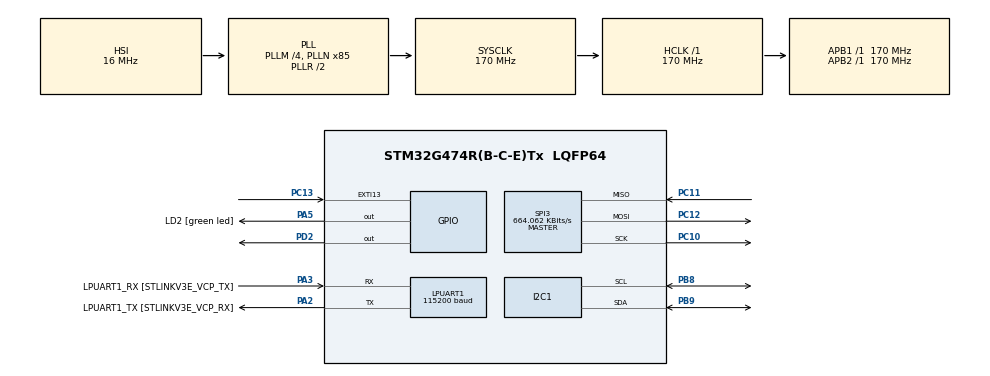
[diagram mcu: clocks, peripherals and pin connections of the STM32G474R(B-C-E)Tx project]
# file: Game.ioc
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I2C1.Timing=0x30A0A7FB
LPUART1.BaudRate=115200
LPUART1.WordLength=UART_WORDLENGTH_8B
Mcu.Family=STM32G4
Mcu.Name=STM32G474R(B-C-E)Tx
Mcu.Package=LQFP64
NVIC.EXTI15_10_IRQn=true\:0\:0\:false\:false\:true\:true\:true\:true
NVIC.I2C1_ER_IRQn=true\:0\:0\:false\:false\:true\:true\:true\:true
NVIC.I2C1_EV_IRQn=true\:0\:0\:false\:false\:true\:true\:true\:true
NVIC.PriorityGroup=NVIC_PRIORITYGROUP_4
NVIC.SPI3_IRQn=true\:0\:0\:false\:false\:true\:true\:true\:true
NVIC.TIM3_IRQn=true\:0\:0\:false\:false\:true\:true\:true\:true
PA13.GPIO_Label=T_SWDIO
PA13.Mode=Serial_Wire
PA13.Signal=SYS_JTMS-SWDIO
PA14.GPIO_Label=T_SWCLK
PA14.Mode=Serial_Wire
PA14.Signal=SYS_JTCK-SWCLK
PA2.GPIO_Label=LPUART1_TX [STLINKV3E_VCP_RX]
PA2.Mode=Asynchronous
PA2.Signal=LPUART1_TX
PA3.GPIO_Label=LPUART1_RX [STLINKV3E_VCP_TX]
PA3.Mode=Asynchronous
PA3.Signal=LPUART1_RX
PA5.GPIO_Label=LD2 [green led]
PA5.Signal=GPIO_Output
PB3.GPIO_Label=T_SWO
PB3.Signal=SYS_JTDO-SWO
PB8-BOOT0.Mode=I2C
PB8-BOOT0.Signal=I2C1_SCL
PB9.Mode=I2C
PB9.Signal=I2C1_SDA
PC10.Mode=Full_Duplex_Master
PC10.Signal=SPI3_SCK
PC11.Mode=Full_Duplex_Master
PC11.Signal=SPI3_MISO
PC12.Mode=Full_Duplex_Master
PC12.Signal=SPI3_MOSI
PC13.GPIO_ModeDefaultEXTI=GPIO_MODE_IT_RISING
PC13.Signal=GPXTI13
PC14-OSC32_IN.Mode=LSE-External-Oscillator
PC14-OSC32_IN.Signal=RCC_OSC32_IN
PC15-OSC32_OUT.Mode=LSE-External-Oscillator
PC15-OSC32_OUT.Signal=RCC_OSC32_OUT
PD2.PinState=GPIO_PIN_SET
PD2.Signal=GPIO_Output
PF0-OSC_IN.Mode=HSE-External-Oscillator
PF0-OSC_IN.Signal=RCC_OSC_IN
PF1-OSC_OUT.Mode=HSE-External-Oscillator
PF1-OSC_OUT.Signal=RCC_OSC_OUT
ProjectManager.HeapSize=0x200
ProjectManager.StackSize=0x400
ProjectManager.TargetToolchain=STM32CubeIDE
RCC.ADC12Freq_Value=170000000
RCC.ADC345Freq_Value=170000000
RCC.AHBFreq_Value=170000000
RCC.APB1Freq_Value=170000000
RCC.APB1TimFreq_Value=170000000
RCC.APB2Freq_Value=170000000
RCC.APB2TimFreq_Value=170000000
RCC.CortexFreq_Value=170000000
RCC.EXTERNAL_CLOCK_VALUE=12288000
RCC.HCLKFreq_Value=170000000
RCC.HSE_VALUE=24000000
RCC.HSI48_VALUE=48000000
RCC.HSI_VALUE=16000000
RCC.PLLM=RCC_PLLM_DIV4
RCC.PLLN=85
RCC.RTCClockSelection=RCC_RTCCLKSOURCE_LSE
RCC.SYSCLKFreq_VALUE=170000000
RCC.SYSCLKSource=RCC_SYSCLKSOURCE_PLLCLK
RCC.USBFreq_Value=170000000
RCC.VCOOutputFreq_Value=340000000
SPI3.BaudRatePrescaler=SPI_BAUDRATEPRESCALER_256
SPI3.CalculateBaudRate=664.062 KBits/s
SPI3.DataSize=SPI_DATASIZE_8BIT
SPI3.Direction=SPI_DIRECTION_2LINES
SPI3.Mode=SPI_MODE_MASTER
SPI3.VirtualType=VM_MASTER
TIM3.PeriodNoDither=499
TIM3.Prescaler=16999
VP_SYS_VS_DBSignals.Mode=DisableDeadBatterySignals
VP_TIM3_VS_ClockSourceINT.Mode=Internal
board=NUCLEO-G474RE

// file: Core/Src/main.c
/* USER CODE BEGIN Header */
/**
  ******************************************************************************
  * @file           : main.c
  * @brief          : Main program body
  ******************************************************************************
  * @attention
  *
  * Copyright (c) 2024 STMicroelectronics.
  * All rights reserved.
  *
  * This software is licensed under terms that can be found in the LICENSE file
  * in the root directory of this software component.
  * If no LICENSE file comes with this software, it is provided AS-IS.
  *
  ******************************************************************************
  */
/* USER CODE END Header */
#include "main.h"

/* USER CODE BEGIN PD */
#define EEPROM_ADDR 0b10100000
/* USER CODE END PD */

I2C_HandleTypeDef hi2c1;

UART_HandleTypeDef hlpuart1;

SPI_HandleTypeDef hspi3;

TIM_HandleTypeDef htim3;

/* USER CODE BEGIN PV */
uint8_t SPI_TX[10];
uint8_t SPI_RX[10];

uint64_t Number;
uint32_t Random;
uint32_t x;
uint16_t control_rand;
uint16_t State;
uint16_t Z;
uint16_t T;
uint16_t Reward;
uint16_t Rx_Button[10];
uint16_t light;
uint16_t LMode;
uint16_t Press;
uint16_t test;

uint8_t WriteFlag = 0;
uint8_t ReadFlag = 0;
uint8_t ReadBomb[4];
uint8_t data[4];
/* USER CODE END PV */

void SystemClock_Config(void);
static void MX_GPIO_Init(void);
static void MX_LPUART1_UART_Init(void);
static void MX_SPI3_Init(void);
static void MX_I2C1_Init(void);
static void MX_TIM3_Init(void);
/* USER CODE BEGIN PFP */
void SPITxRx_read_Write_IO();
void LIGHT_OUTPUT_Setup();
void random_std();
void Convert_HC_35_2_Number();
void SET_LIGHT_B();
void shipbit();
/* USER CODE END PFP */

int main(void)
{

  /* MCU Configuration--------------------------------------------------------*/

  /* Reset of all peripherals, Initializes the Flash interface and the Systick. */
  HAL_Init();

  /* Configure the system clock */
  SystemClock_Config();

  /* Initialize all configured peripherals */
  MX_GPIO_Init();
  MX_LPUART1_UART_Init();
  MX_SPI3_Init();
  MX_I2C1_Init();
  MX_TIM3_Init();
  /* USER CODE BEGIN 2 */
  HAL_TIM_Base_Start_IT(&htim3);
  light = 0b11111111;
  /* USER CODE END 2 */

  /* Infinite loop */
  while (1)
  {

    /* USER CODE BEGIN 3 */
	  SPITxRx_read_Write_IO();
	  Convert_HC_35_2_Number();
	  random_std();
	  Game();
	  EEPROMWrite();
	  EEPROMRead(ReadBomb, 1);
	  Checkbomb();

  }
  /* USER CODE END 3 */
}

void SystemClock_Config(void)
{
  RCC_OscInitTypeDef RCC_OscInitStruct = {0};
  RCC_ClkInitTypeDef RCC_ClkInitStruct = {0};

  /** Configure the main internal regulator output voltage
  */
  HAL_PWREx_ControlVoltageScaling(PWR_REGULATOR_VOLTAGE_SCALE1_BOOST);

  /** Initializes the RCC Oscillators according to the specified parameters
  * in the RCC_OscInitTypeDef structure.
  */
  RCC_OscInitStruct.OscillatorType = RCC_OSCILLATORTYPE_HSI;
  RCC_OscInitStruct.HSIState = RCC_HSI_ON;
  RCC_OscInitStruct.HSICalibrationValue = RCC_HSICALIBRATION_DEFAULT;
  RCC_OscInitStruct.PLL.PLLState = RCC_PLL_ON;
  RCC_OscInitStruct.PLL.PLLSource = RCC_PLLSOURCE_HSI;
  RCC_OscInitStruct.PLL.PLLM = RCC_PLLM_DIV4;
  RCC_OscInitStruct.PLL.PLLN = 85;
  RCC_OscInitStruct.PLL.PLLP = RCC_PLLP_DIV2;
  RCC_OscInitStruct.PLL.PLLQ = RCC_PLLQ_DIV2;
  RCC_OscInitStruct.PLL.PLLR = RCC_PLLR_DIV2;
  if (HAL_RCC_OscConfig(&RCC_OscInitStruct) != HAL_OK)
  {
    Error_Handler();
  }

  /** Initializes the CPU, AHB and APB buses clocks
  */
  RCC_ClkInitStruct.ClockType = RCC_CLOCKTYPE_HCLK|RCC_CLOCKTYPE_SYSCLK
                              |RCC_CLOCKTYPE_PCLK1|RCC_CLOCKTYPE_PCLK2;
  RCC_ClkInitStruct.SYSCLKSource = RCC_SYSCLKSOURCE_PLLCLK;
  RCC_ClkInitStruct.AHBCLKDivider = RCC_SYSCLK_DIV1;
  RCC_ClkInitStruct.APB1CLKDivider = RCC_HCLK_DIV1;
  RCC_ClkInitStruct.APB2CLKDivider = RCC_HCLK_DIV1;

  if (HAL_RCC_ClockConfig(&RCC_ClkInitStruct, FLASH_LATENCY_4) != HAL_OK)
  {
    Error_Handler();
  }
}

static void MX_I2C1_Init(void)
{

  hi2c1.Instance = I2C1;
  hi2c1.Init.Timing = 0x30A0A7FB;
  hi2c1.Init.OwnAddress1 = 0;
  hi2c1.Init.AddressingMode = I2C_ADDRESSINGMODE_7BIT;
  hi2c1.Init.DualAddressMode = I2C_DUALADDRESS_DISABLE;
  hi2c1.Init.OwnAddress2 = 0;
  hi2c1.Init.OwnAddress2Masks = I2C_OA2_NOMASK;
  hi2c1.Init.GeneralCallMode = I2C_GENERALCALL_DISABLE;
  hi2c1.Init.NoStretchMode = I2C_NOSTRETCH_DISABLE;
  if (HAL_I2C_Init(&hi2c1) != HAL_OK)
  {
    Error_Handler();
  }

  /** Configure Analogue filter
  */
  if (HAL_I2CEx_ConfigAnalogFilter(&hi2c1, I2C_ANALOGFILTER_ENABLE) != HAL_OK)
  {
    Error_Handler();
  }

  /** Configure Digital filter
  */
  if (HAL_I2CEx_ConfigDigitalFilter(&hi2c1, 0) != HAL_OK)
  {
    Error_Handler();
  }

}

static void MX_LPUART1_UART_Init(void)
{

  hlpuart1.Instance = LPUART1;
  hlpuart1.Init.BaudRate = 115200;
  hlpuart1.Init.WordLength = UART_WORDLENGTH_8B;
  hlpuart1.Init.StopBits = UART_STOPBITS_1;
  hlpuart1.Init.Parity = UART_PARITY_NONE;
  hlpuart1.Init.Mode = UART_MODE_TX_RX;
  hlpuart1.Init.HwFlowCtl = UART_HWCONTROL_NONE;
  hlpuart1.Init.OneBitSampling = UART_ONE_BIT_SAMPLE_DISABLE;
  hlpuart1.Init.ClockPrescaler = UART_PRESCALER_DIV1;
  hlpuart1.AdvancedInit.AdvFeatureInit = UART_ADVFEATURE_NO_INIT;
  if (HAL_UART_Init(&hlpuart1) != HAL_OK)
  {
    Error_Handler();
  }
  if (HAL_UARTEx_SetTxFifoThreshold(&hlpuart1, UART_TXFIFO_THRESHOLD_1_8) != HAL_OK)
  {
    Error_Handler();
  }
  if (HAL_UARTEx_SetRxFifoThreshold(&hlpuart1, UART_RXFIFO_THRESHOLD_1_8) != HAL_OK)
  {
    Error_Handler();
  }
  if (HAL_UARTEx_DisableFifoMode(&hlpuart1) != HAL_OK)
  {
    Error_Handler();
  }

}

static void MX_SPI3_Init(void)
{

  /* SPI3 parameter configuration*/
  hspi3.Instance = SPI3;
  hspi3.Init.Mode = SPI_MODE_MASTER;
  hspi3.Init.Direction = SPI_DIRECTION_2LINES;
  hspi3.Init.DataSize = SPI_DATASIZE_8BIT;
  hspi3.Init.CLKPolarity = SPI_POLARITY_LOW;
  hspi3.Init.CLKPhase = SPI_PHASE_1EDGE;
  hspi3.Init.NSS = SPI_NSS_SOFT;
  hspi3.Init.BaudRatePrescaler = SPI_BAUDRATEPRESCALER_256;
  hspi3.Init.FirstBit = SPI_FIRSTBIT_MSB;
  hspi3.Init.TIMode = SPI_TIMODE_DISABLE;
  hspi3.Init.CRCCalculation = SPI_CRCCALCULATION_DISABLE;
  hspi3.Init.CRCPolynomial = 7;
  hspi3.Init.CRCLength = SPI_CRC_LENGTH_DATASIZE;
  hspi3.Init.NSSPMode = SPI_NSS_PULSE_ENABLE;
  if (HAL_SPI_Init(&hspi3) != HAL_OK)
  {
    Error_Handler();
  }

}

static void MX_TIM3_Init(void)
{

  TIM_ClockConfigTypeDef sClockSourceConfig = {0};
  TIM_MasterConfigTypeDef sMasterConfig = {0};

  htim3.Instance = TIM3;
  htim3.Init.Prescaler = 16999;
  htim3.Init.CounterMode = TIM_COUNTERMODE_UP;
  htim3.Init.Period = 499;
  htim3.Init.ClockDivision = TIM_CLOCKDIVISION_DIV1;
  htim3.Init.AutoReloadPreload = TIM_AUTORELOAD_PRELOAD_DISABLE;
  if (HAL_TIM_Base_Init(&htim3) != HAL_OK)
  {
    Error_Handler();
  }
  sClockSourceConfig.ClockSource = TIM_CLOCKSOURCE_INTERNAL;
  if (HAL_TIM_ConfigClockSource(&htim3, &sClockSourceConfig) != HAL_OK)
  {
    Error_Handler();
  }
  sMasterConfig.MasterOutputTrigger = TIM_TRGO_RESET;
  sMasterConfig.MasterSlaveMode = TIM_MASTERSLAVEMODE_DISABLE;
  if (HAL_TIMEx_MasterConfigSynchronization(&htim3, &sMasterConfig) != HAL_OK)
  {
    Error_Handler();
  }

}

static void MX_GPIO_Init(void)
{
  GPIO_InitTypeDef GPIO_InitStruct = {0};

  /* GPIO Ports Clock Enable */
  __HAL_RCC_GPIOC_CLK_ENABLE();
  __HAL_RCC_GPIOF_CLK_ENABLE();
  __HAL_RCC_GPIOA_CLK_ENABLE();
  __HAL_RCC_GPIOD_CLK_ENABLE();
  __HAL_RCC_GPIOB_CLK_ENABLE();

  /*Configure GPIO pin Output Level */
  HAL_GPIO_WritePin(LD2_GPIO_Port, LD2_Pin, GPIO_PIN_RESET);

  /*Configure GPIO pin Output Level */
  HAL_GPIO_WritePin(GPIOD, GPIO_PIN_2, GPIO_PIN_SET);

  /*Configure GPIO pin : PC13 */
  GPIO_InitStruct.Pin = GPIO_PIN_13;
  GPIO_InitStruct.Mode = GPIO_MODE_IT_RISING;
  GPIO_InitStruct.Pull = GPIO_NOPULL;
  HAL_GPIO_Init(GPIOC, &GPIO_InitStruct);

  /*Configure GPIO pin : LD2_Pin */
  GPIO_InitStruct.Pin = LD2_Pin;
  GPIO_InitStruct.Mode = GPIO_MODE_OUTPUT_PP;
  GPIO_InitStruct.Pull = GPIO_NOPULL;
  GPIO_InitStruct.Speed = GPIO_SPEED_FREQ_LOW;
  HAL_GPIO_Init(LD2_GPIO_Port, &GPIO_InitStruct);

  /*Configure GPIO pin : PD2 */
  GPIO_InitStruct.Pin = GPIO_PIN_2;
  GPIO_InitStruct.Mode = GPIO_MODE_OUTPUT_PP;
  GPIO_InitStruct.Pull = GPIO_NOPULL;
  GPIO_InitStruct.Speed = GPIO_SPEED_FREQ_LOW;
  HAL_GPIO_Init(GPIOD, &GPIO_InitStruct);

  /* EXTI interrupt init*/
  HAL_NVIC_SetPriority(EXTI15_10_IRQn, 0, 0);
  HAL_NVIC_EnableIRQ(EXTI15_10_IRQn);

}

/* USER CODE BEGIN 4 */
void LIGHT_OUTPUT_Setup()
{
	HAL_GPIO_WritePin(GPIOD, GPIO_PIN_2, 0);
	SPI_TX[0] = 0b01000000;
	SPI_TX[1] = 0x01;
	SPI_TX[2] = 0b00000000;
	HAL_SPI_TransmitReceive_IT(&hspi3, SPI_TX, SPI_RX, 3);
}

void SPITxRx_read_Write_IO()
{
    if(HAL_GPIO_ReadPin(GPIOD,GPIO_PIN_2))
    {
        HAL_GPIO_WritePin(GPIOD, GPIO_PIN_2, 0); // CS Select
        SPI_TX[0] = 0b01000001;
        SPI_TX[1] = 0x12;
        SPI_TX[2] = 0x00;
        HAL_SPI_TransmitReceive_IT(&hspi3, SPI_TX, Rx_Button, 3);
        Convert_HC_35_2_Number();
        SET_LIGHT_B();

        HAL_Delay(1);

        HAL_GPIO_WritePin(GPIOD, GPIO_PIN_2, 0); // CS Select
        SPI_TX[0] = 0b01000000;
        SPI_TX[1] = 0x01;
        SPI_TX[2] = light;
        HAL_SPI_TransmitReceive_IT(&hspi3, SPI_TX, SPI_RX, 3);

    }
}

void SET_LIGHT_B()
{
	if(control_rand == 0)
	{
		if (Reward == 1 && Press >= 2)
			{
				Blink();
			}
			else if (Reward == 2 && Press >= 2)
			{
				Looping();
			}
			else if(ReadBomb[0] != 0 && Press <= 1)
			{
				DisplayBomb();
				test = 10;
			}
			else
			{
				light = 0b11111111;
			}
	}
	else if (control_rand == 1)
	{
		Rand_Light();
	}

}
void shipbit()
{
	T = Rx_Button[1] >> 4;
}
void Convert_HC_35_2_Number()
{
	if (Rx_Button[1]== 14 && Reward != 1)
		{
			Number = 1;
		}
	else if (Rx_Button[1]== 13 && Reward != 1)
		{
			Number = 2;
		}
	else if (Rx_Button[1]== 11 && Reward != 1)
		{
			Number = 3;
		}
	else if (Rx_Button[1]== 7 && Reward != 1)
		{
			Number = 4;
		}

}

void Game()
{
	if(Random == Number && Press >= 2)
	{
		Reward = 1;
		data[0] = Random;
		WriteFlag = 1;
	}
	else if (Random != Number && Press >= 2 && Number != 0)
	{
		Reward = 2;
	}
}

void HAL_SPI_TxRxCpltCallback(SPI_HandleTypeDef *hspi)
{
	if(State==0)
	{
		State = 1;
	}
	else if(State == 1)
	{
		State = 0;
	}

	HAL_GPIO_WritePin(GPIOD, GPIO_PIN_2, 1);
}

void HAL_GPIO_EXTI_Callback(uint16_t GPIO_Pin)
	{
		if(GPIO_Pin == GPIO_PIN_13)
		{
			if (control_rand == 1 && Press < 2)
				{
					control_rand = 0;
				}
			else if (control_rand == 0 && Press < 2)
				{
					control_rand = 1;
				}
			Press += 1;
		}

	}

void random_std()
{
	if(control_rand == 1 )
	{
		Random = (rand() % 4)+1;
		Number = 0;
	}
}

void Rand_Light()
{
			if (LMode == 1)
				{
				light = 0b11111110;
				}
			else if (LMode == 2)
				{
				light = 0b11111101;
				}
			else if (LMode == 3)
				{
				light = 0b11111011;
				}
			else if (LMode == 4)
				{
				light = 0b11110111;
				}
			else if (LMode == 5)
				{
				light = 0b11101111;
				}
			else if (LMode == 6)
				{
				light = 0b11011111;
				}
			else if (LMode == 7)
				{
				light = 0b10111111;
				}
			else if (LMode == 8)
				{
				light = 0b01111111;
				}
}

void Blink()
{
	if (LMode>=1 && LMode <= 4)
	{
		light = 0b11111111;
	}
	else if (LMode>=5 && LMode <=8)
	{
		light = 0b00000000;
	}
}

void Looping()
{
	if (LMode == 1)
	{
		light = 0b11110000;
	}
	else if (LMode == 2)
	{
		light = 0b11100001;
	}
	else if (LMode == 3)
	{
		light = 0b1100011;
	}
	else if (LMode == 4)
	{
		light = 0b10000111;
	}
	else if (LMode == 5)
	{
		light = 0b00001111;
	}
	else if (LMode == 6)
	{
		light = 0b100001111;
	}
	else if (LMode == 7)
	{
		light = 0b110000111;
	}
	else if (LMode == 8)
	{
		light = 0b11100001;
	}
}

void HAL_TIM_PeriodElapsedCallback(TIM_HandleTypeDef *htim)
{
	if (htim == &htim3)
	{
		LMode+=1;
		if (LMode>8)
		{
			LMode = 1;
		}
	}
}

void EEPROMWrite() {
if (WriteFlag && hi2c1.State == HAL_I2C_STATE_READY) {
HAL_I2C_Mem_Write_IT(&hi2c1, EEPROM_ADDR, 0x2C, I2C_MEMADD_SIZE_16BIT,

data, 1);

WriteFlag = 0;
}
}

void EEPROMRead(uint8_t *Rdata, uint16_t len) {
if (ReadFlag && hi2c1.State == HAL_I2C_STATE_READY) {
HAL_I2C_Mem_Read_IT(&hi2c1, EEPROM_ADDR, 0x2c, I2C_MEMADD_SIZE_16BIT,

Rdata, len);
ReadFlag = 0;
}
}

void Checkbomb()
{
	if (Number == 1 && Press < 2)
	{
		ReadFlag = 1;
	}

}

void DisplayBomb()
{
	if(ReadBomb[0] == 1)
	{
		light = 0b11111110;
	}
	else if(ReadBomb[0] == 2)
	{
		light = 0b11111100;
	}
	else if(ReadBomb[0] == 3)
		{
			light = 0b11111000;
		}
	else if(ReadBomb[0] == 4)
		{
			light = 0b11110000;
		}
}

/* USER CODE END 4 */

void Error_Handler(void)
{
  __disable_irq();
  while (1)
  {
  }
}
